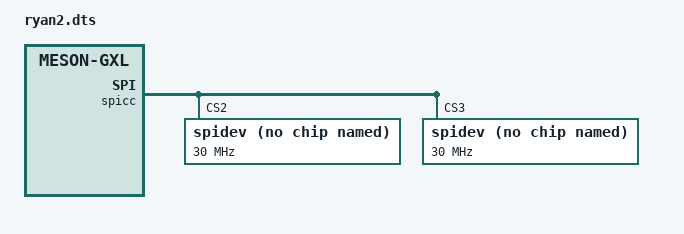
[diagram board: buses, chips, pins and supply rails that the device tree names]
/*
	Ryan's 3d Printer Le-Potato Overlay
	Enables two Spidev devices (2, 3) (Pins 38 CS2, 40 CS3)
	THese are for the two adxl345 accelerometers
	CS2 (PIN38) 
	CS3 (PIN40) 	
*/
/dts-v1/;
/plugin/;

/ {
	compatible = "libretech,cc", "amlogic,s905x", "amlogic,meson-gxl";

	fragment@0 {
		target = <&spicc>;
		
		__overlay__ {
			spidev@2 {
				compatible = "rohm,dh2228fv";
				reg = <2>;
				spi-max-frequency = <30000000>;
			};
			spidev@3 {
				compatible = "rohm,dh2228fv";
				reg = <3>;
				spi-max-frequency = <30000000>;
			};
		};
	};
};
